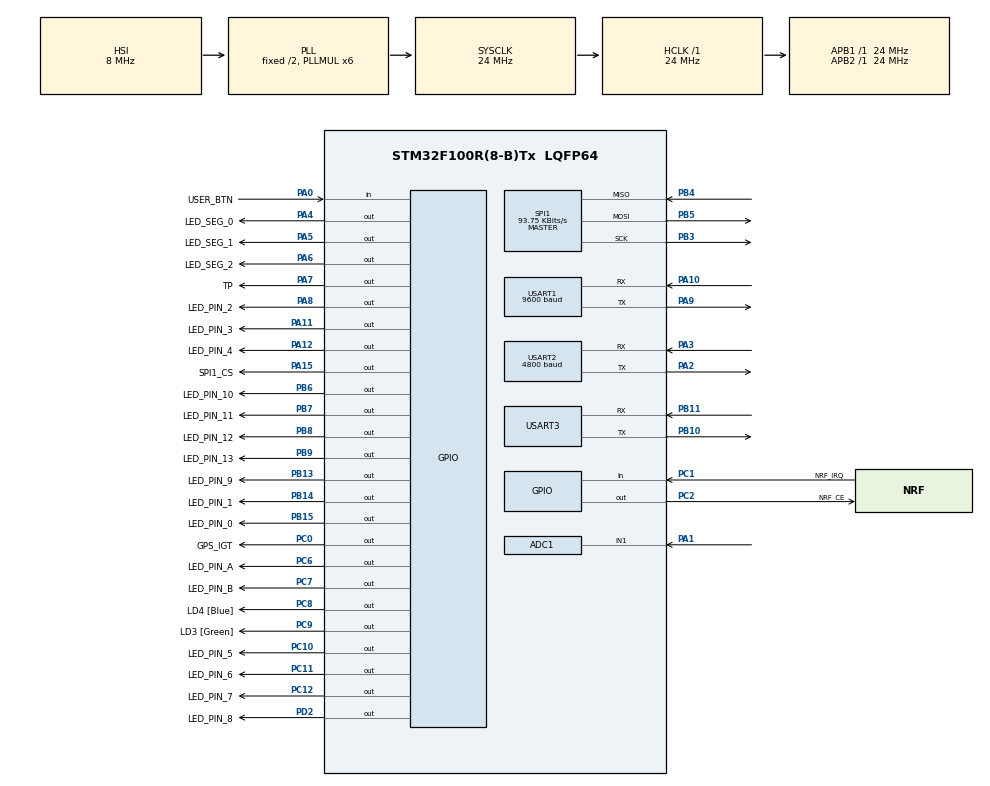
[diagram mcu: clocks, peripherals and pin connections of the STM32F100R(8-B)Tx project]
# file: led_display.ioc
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ADC1.Channel-0\#ChannelRegularConversion=ADC_CHANNEL_VREFINT
ADC1.Channel-1\#ChannelRegularConversion=ADC_CHANNEL_TEMPSENSOR
ADC1.Channel-2\#ChannelRegularConversion=ADC_CHANNEL_1
ADC1.DiscontinuousConvMode=ENABLE
ADC1.NbrOfConversion=3
ADC1.NbrOfConversionFlag=1
ADC1.Rank-0\#ChannelRegularConversion=1
ADC1.Rank-1\#ChannelRegularConversion=2
ADC1.Rank-2\#ChannelRegularConversion=3
ADC1.SamplingTime-0\#ChannelRegularConversion=ADC_SAMPLETIME_239CYCLES_5
ADC1.SamplingTime-1\#ChannelRegularConversion=ADC_SAMPLETIME_239CYCLES_5
ADC1.SamplingTime-2\#ChannelRegularConversion=ADC_SAMPLETIME_239CYCLES_5
ADC1.master=1
IWDG.Prescaler=IWDG_PRESCALER_256
Mcu.Family=STM32F1
Mcu.Name=STM32F100R(8-B)Tx
Mcu.Package=LQFP64
NVIC.PriorityGroup=NVIC_PRIORITYGROUP_4
NVIC.TIM2_IRQn=true\:0\:0\:false\:false\:true\:true\:true
NVIC.USART1_IRQn=true\:0\:0\:false\:false\:true\:true\:true
NVIC.USART2_IRQn=true\:0\:0\:false\:false\:true\:true\:true
PA0-WKUP.GPIO_Label=USER_BTN
PA0-WKUP.GPIO_PuPd=GPIO_PULLDOWN
PA0-WKUP.Signal=GPIO_Input
PA1.Signal=ADCx_IN1
PA10.GPIO_PuPd=GPIO_PULLDOWN
PA10.Mode=Asynchronous
PA10.Signal=USART1_RX
PA11.GPIO_Label=LED_PIN_3
PA11.GPIO_ModeDefaultOutputPP=GPIO_MODE_OUTPUT_OD
PA11.Signal=GPIO_Output
PA12.GPIO_Label=LED_PIN_4
PA12.GPIO_ModeDefaultOutputPP=GPIO_MODE_OUTPUT_OD
PA12.Signal=GPIO_Output
PA13.Mode=Serial_Wire
PA13.Signal=SYS_JTMS-SWDIO
PA14.Mode=Serial_Wire
PA14.Signal=SYS_JTCK-SWCLK
PA15.GPIO_Label=SPI1_CS
PA15.PinState=GPIO_PIN_SET
PA15.Signal=GPIO_Output
PA2.Mode=Asynchronous
PA2.Signal=USART2_TX
PA3.Mode=Asynchronous
PA3.Signal=USART2_RX
PA4.GPIO_Label=LED_SEG_0
PA4.Signal=GPIO_Output
PA5.GPIO_Label=LED_SEG_1
PA5.Signal=GPIO_Output
PA6.GPIO_Label=LED_SEG_2
PA6.Signal=GPIO_Output
PA7.GPIO_Label=TP
PA7.Signal=GPIO_Output
PA8.GPIO_Label=LED_PIN_2
PA8.GPIO_ModeDefaultOutputPP=GPIO_MODE_OUTPUT_OD
PA8.Signal=GPIO_Output
PA9.Mode=Asynchronous
PA9.Signal=USART1_TX
PB10.Mode=Asynchronous
PB10.Signal=USART3_TX
PB11.Mode=Asynchronous
PB11.Signal=USART3_RX
PB13.GPIO_Label=LED_PIN_9
PB13.GPIO_ModeDefaultOutputPP=GPIO_MODE_OUTPUT_OD
PB13.Signal=GPIO_Output
PB14.GPIO_Label=LED_PIN_1
PB14.GPIO_ModeDefaultOutputPP=GPIO_MODE_OUTPUT_OD
PB14.Signal=GPIO_Output
PB15.GPIO_Label=LED_PIN_0
PB15.GPIO_ModeDefaultOutputPP=GPIO_MODE_OUTPUT_OD
PB15.Signal=GPIO_Output
PB3.Mode=Full_Duplex_Master
PB3.Signal=SPI1_SCK
PB4.Mode=Full_Duplex_Master
PB4.Signal=SPI1_MISO
PB5.Mode=Full_Duplex_Master
PB5.Signal=SPI1_MOSI
PB6.GPIO_Label=LED_PIN_10
PB6.GPIO_ModeDefaultOutputPP=GPIO_MODE_OUTPUT_OD
PB6.Signal=GPIO_Output
PB7.GPIO_Label=LED_PIN_11
PB7.GPIO_ModeDefaultOutputPP=GPIO_MODE_OUTPUT_OD
PB7.Signal=GPIO_Output
PB8.GPIO_Label=LED_PIN_12
PB8.GPIO_ModeDefaultOutputPP=GPIO_MODE_OUTPUT_OD
PB8.Signal=GPIO_Output
PB9.GPIO_Label=LED_PIN_13
PB9.GPIO_ModeDefaultOutputPP=GPIO_MODE_OUTPUT_OD
PB9.Signal=GPIO_Output
PC0.GPIO_Label=GPS_IGT
PC0.GPIO_PuPd=GPIO_PULLUP
PC0.Signal=GPIO_Output
PC1.GPIO_Label=NRF_IRQ
PC1.GPIO_PuPd=GPIO_PULLUP
PC1.Signal=GPIO_Input
PC10.GPIO_Label=LED_PIN_5
PC10.GPIO_ModeDefaultOutputPP=GPIO_MODE_OUTPUT_OD
PC10.Signal=GPIO_Output
PC11.GPIO_Label=LED_PIN_6
PC11.GPIO_ModeDefaultOutputPP=GPIO_MODE_OUTPUT_OD
PC11.Signal=GPIO_Output
PC12.GPIO_Label=LED_PIN_7
PC12.GPIO_ModeDefaultOutputPP=GPIO_MODE_OUTPUT_OD
PC12.Signal=GPIO_Output
PC14-OSC32_IN.Mode=LSE-External-Oscillator
PC14-OSC32_IN.Signal=RCC_OSC32_IN
PC15-OSC32_OUT.Mode=LSE-External-Oscillator
PC15-OSC32_OUT.Signal=RCC_OSC32_OUT
PC2.GPIO_Label=NRF_CE
PC2.Signal=GPIO_Output
PC6.GPIO_Label=LED_PIN_A
PC6.Signal=GPIO_Output
PC7.GPIO_Label=LED_PIN_B
PC7.Signal=GPIO_Output
PC8.GPIO_Label=LD4 [Blue]
PC8.Signal=GPIO_Output
PC9.GPIO_Label=LD3 [Green]
PC9.Signal=GPIO_Output
PD0-OSC_IN.Mode=HSE-External-Oscillator
PD0-OSC_IN.Signal=RCC_OSC_IN
PD1-OSC_OUT.Mode=HSE-External-Oscillator
PD1-OSC_OUT.Signal=RCC_OSC_OUT
PD2.GPIO_Label=LED_PIN_8
PD2.GPIO_ModeDefaultOutputPP=GPIO_MODE_OUTPUT_OD
PD2.Signal=GPIO_Output
ProjectManager.HeapSize=0x200
ProjectManager.StackSize=0x400
ProjectManager.TargetToolchain=STM32CubeIDE
RCC.AHBFreq_Value=24000000
RCC.APB1Freq_Value=24000000
RCC.APB1TimFreq_Value=24000000
RCC.APB2Freq_Value=24000000
RCC.APB2TimFreq_Value=24000000
RCC.HCLKFreq_Value=24000000
RCC.PLLMUL=RCC_PLL_MUL6
RCC.RTCClockSelection=RCC_RTCCLKSOURCE_LSE
RCC.SYSCLKFreq_VALUE=24000000
RCC.SYSCLKSource=RCC_SYSCLKSOURCE_PLLCLK
RTC.Format=RTC_FORMAT_BIN
SH.ADCx_IN1.0=ADC1_IN1,IN1
SPI1.BaudRatePrescaler=SPI_BAUDRATEPRESCALER_256
SPI1.CalculateBaudRate=93.75 KBits/s
SPI1.Direction=SPI_DIRECTION_2LINES
SPI1.Mode=SPI_MODE_MASTER
SPI1.VirtualType=VM_MASTER
TIM2.Period=0x8000
TIM2.Prescaler=2
USART1.BaudRate=9600
USART1.VirtualMode=VM_ASYNC
USART2.BaudRate=4800
USART2.VirtualMode=VM_ASYNC
USART3.VirtualMode=VM_ASYNC
VP_ADC1_TempSens_Input.Mode=IN-TempSens
VP_ADC1_Vref_Input.Mode=IN-Vrefint
VP_IWDG_VS_IWDG.Mode=IWDG_Activate
VP_RTC_VS_RTC_Activate.Mode=RTC_Enabled
VP_TIM2_VS_ClockSourceINT.Mode=Internal
board=STM32VLDISCOVERY

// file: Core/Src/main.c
/* USER CODE BEGIN Header */
/**
  ******************************************************************************
  * @file           : main.c
  * @brief          : Main program body
  ******************************************************************************
  * @attention
  *
  * <h2><center>&copy; Copyright (c) 2019 STMicroelectronics.
  * All rights reserved.</center></h2>
  *
  * This software component is licensed by ST under BSD 3-Clause license,
  * the "License"; You may not use this file except in compliance with the
  * License. You may obtain a copy of the License at:
  *                        opensource.org/licenses/BSD-3-Clause
  *
  ******************************************************************************
  */
/* USER CODE END Header */

#include "main.h"

/* USER CODE BEGIN Includes */
#include <stdio.h>
#include <string.h>
#include <stdlib.h>

#include <Utils/terminal.h>
#include "gps.h"
#include "led_display.h"
#include "run_cpp.h"
/* USER CODE END Includes */

ADC_HandleTypeDef hadc1;

IWDG_HandleTypeDef hiwdg;

RTC_HandleTypeDef hrtc;

SPI_HandleTypeDef hspi1;

TIM_HandleTypeDef htim2;

UART_HandleTypeDef huart1;
UART_HandleTypeDef huart2;
UART_HandleTypeDef huart3;

void SystemClock_Config(void);
static void MX_GPIO_Init(void);
static void MX_USART1_UART_Init(void);
static void MX_USART2_UART_Init(void);
static void MX_USART3_UART_Init(void);
static void MX_RTC_Init(void);
static void MX_SPI1_Init(void);
static void MX_TIM2_Init(void);
static void MX_ADC1_Init(void);
static void MX_IWDG_Init(void);

/* USER CODE BEGIN 0 */
void sample_adc(double *temperature, double *voltages)
{
	uint32_t adc_raw[3] = {0};

	HAL_ADCEx_Calibration_Start(&hadc1);

	for (int k = 0; k < 3; ++k)
	{
	HAL_ADC_Start(&hadc1);
	if(HAL_ADC_PollForConversion(&hadc1, 1000) == HAL_OK)
	{
		adc_raw[k] = HAL_ADC_GetValue(&hadc1);
		//printf("ADC[%d]: %lu\n", k, adc_raw[k]);
	}
	else
		break;
	}
	HAL_ADC_Stop(&hadc1);

	//this amount of steps measure 1.2V
	double step = 1.2 / adc_raw[0];
	//printf("ADC Step %0.3f\n", step);
	//printf("Vref: %0.3f\n", step * 4095.0);

	double voltage = ((double)adc_raw[1]) * step;
	//printf(" *	%d\n", (int)voltage);
	voltage = 1.43 - voltage;
	//printf(" -	%d\n", voltage);
	voltage /= 0.0043;
	//printf(" /	%d\n", voltage);
	*temperature = (25.0 + voltage) - 11;

	//measure raw voltage
	voltages[0] = (((double)adc_raw[2] * step));
}

/* USER CODE END 0 */

int main(void)
{

  /* MCU Configuration--------------------------------------------------------*/

  /* Reset of all peripherals, Initializes the Flash interface and the Systick. */
  HAL_Init();

  /* Configure the system clock */
  SystemClock_Config();

  /* Initialize all configured peripherals */
  MX_GPIO_Init();
  MX_USART1_UART_Init();
  MX_USART2_UART_Init();
  MX_USART3_UART_Init();
  MX_RTC_Init();
  MX_SPI1_Init();
  MX_TIM2_Init();
  MX_ADC1_Init();
  MX_IWDG_Init();
  /* USER CODE BEGIN 2 */
  cpp_init(&hspi1);

  setbuf(stdout, 0);
  printf("LED clock with GPS\n");
  printf("SYSCLOCK: %lu Hz\n", HAL_RCC_GetSysClockFreq());
  printf("HCLOCK  : %lu Hz\n", HAL_RCC_GetHCLKFreq());
  printf("P1CLOCK : %lu Hz\n", HAL_RCC_GetPCLK1Freq());
  printf("P2CLOCK : %lu Hz\n", HAL_RCC_GetPCLK2Freq());
  terminal_init("led $");

  //LED Lamp test
  {
  uint8_t number = 0;
  for(int k = 0 ; k  < 10; k++)
  {
	  HAL_Delay(300);
	  led_set_time(number, number);
	  led_set_temperature((float)k * 11.1);
	  number += 11;
  }
  HAL_Delay(300);
  }

  /* USER CODE END 2 */

  /* Infinite loop */
  /* USER CODE BEGIN WHILE */
  uint32_t tick = 0;
  float previous_temperature = 0;
  while (1)
  {
	  HAL_Delay(50);
	  terminal_run();
	  gps_run();
    /* USER CODE END WHILE */

    /* USER CODE BEGIN 3 */
	  //Refresh display every 15s
	  if(tick < HAL_GetTick())
	  {
		  RTC_TimeTypeDef rtc_time = {0};
		  HAL_RTC_GetTime(&hrtc, &rtc_time, RTC_FORMAT_BIN);

		  int hours = 0, minutes = 0, seconds = 0;
		  tick = HAL_GetTick() + 15000;
		  if(gps_get_time(&hours, &minutes, &seconds))
		  {
			  hours += 2;
			  if(hours > 23)
				  hours -= 24;

			  //Update RTC time if out of sync
			  if((rtc_time.Hours != hours) || (rtc_time.Minutes != minutes))
			  {
				  printf("Updating RTC time\n");
				  rtc_time.Hours = hours;
				  rtc_time.Minutes = minutes;
				  rtc_time.Seconds = seconds;
				  HAL_RTC_SetTime(&hrtc, &rtc_time, RTC_FORMAT_BIN);
			  }
		  }
		  else
		  {
			  hours = rtc_time.Hours;
			  minutes = rtc_time.Minutes;
		  }
		  led_set_time(hours, minutes);

		  double temperature, voltage;
		  sample_adc(&temperature, &voltage);
		  temperature = voltage * 100;
		  led_set_temperature(temperature);
		  cpp_update_temperature(temperature);

		  //if temperature has changed with a degree report it
		  if(((previous_temperature - 0.5) > temperature) || (temperature > (previous_temperature + 0.5)))
		  {
			  printf("T delta changed, report it\n");
			  previous_temperature = temperature;
			  cpp_report_temperature();
		  }
	  }

	  cpp_run();
	  HAL_IWDG_Refresh(&hiwdg);

	  //when the user button is pressed, show satellites in view
	  if(HAL_GPIO_ReadPin(USER_BTN_GPIO_Port, USER_BTN_Pin))
	  {
		  int fix, sv;
		  gps_get_satellites(&fix, &sv);
		  led_set_time(fix, sv);
	  }
  }
  /* USER CODE END 3 */
}

void SystemClock_Config(void)
{
  RCC_OscInitTypeDef RCC_OscInitStruct = {0};
  RCC_ClkInitTypeDef RCC_ClkInitStruct = {0};
  RCC_PeriphCLKInitTypeDef PeriphClkInit = {0};

  /** Initializes the CPU, AHB and APB busses clocks
  */
  RCC_OscInitStruct.OscillatorType = RCC_OSCILLATORTYPE_HSI|RCC_OSCILLATORTYPE_LSI
                              |RCC_OSCILLATORTYPE_LSE;
  RCC_OscInitStruct.LSEState = RCC_LSE_ON;
  RCC_OscInitStruct.HSIState = RCC_HSI_ON;
  RCC_OscInitStruct.HSICalibrationValue = RCC_HSICALIBRATION_DEFAULT;
  RCC_OscInitStruct.LSIState = RCC_LSI_ON;
  RCC_OscInitStruct.PLL.PLLState = RCC_PLL_ON;
  RCC_OscInitStruct.PLL.PLLSource = RCC_PLLSOURCE_HSI_DIV2;
  RCC_OscInitStruct.PLL.PLLMUL = RCC_PLL_MUL6;
  if (HAL_RCC_OscConfig(&RCC_OscInitStruct) != HAL_OK)
  {
    Error_Handler();
  }
  /** Initializes the CPU, AHB and APB busses clocks
  */
  RCC_ClkInitStruct.ClockType = RCC_CLOCKTYPE_HCLK|RCC_CLOCKTYPE_SYSCLK
                              |RCC_CLOCKTYPE_PCLK1|RCC_CLOCKTYPE_PCLK2;
  RCC_ClkInitStruct.SYSCLKSource = RCC_SYSCLKSOURCE_PLLCLK;
  RCC_ClkInitStruct.AHBCLKDivider = RCC_SYSCLK_DIV1;
  RCC_ClkInitStruct.APB1CLKDivider = RCC_HCLK_DIV1;
  RCC_ClkInitStruct.APB2CLKDivider = RCC_HCLK_DIV1;

  if (HAL_RCC_ClockConfig(&RCC_ClkInitStruct, FLASH_LATENCY_0) != HAL_OK)
  {
    Error_Handler();
  }
  PeriphClkInit.PeriphClockSelection = RCC_PERIPHCLK_RTC|RCC_PERIPHCLK_ADC;
  PeriphClkInit.RTCClockSelection = RCC_RTCCLKSOURCE_LSE;
  PeriphClkInit.AdcClockSelection = RCC_ADCPCLK2_DIV2;
  if (HAL_RCCEx_PeriphCLKConfig(&PeriphClkInit) != HAL_OK)
  {
    Error_Handler();
  }
}

static void MX_ADC1_Init(void)
{

  ADC_ChannelConfTypeDef sConfig = {0};

  /** Common config
  */
  hadc1.Instance = ADC1;
  hadc1.Init.ScanConvMode = ADC_SCAN_ENABLE;
  hadc1.Init.ContinuousConvMode = DISABLE;
  hadc1.Init.DiscontinuousConvMode = ENABLE;
  hadc1.Init.NbrOfDiscConversion = 1;
  hadc1.Init.ExternalTrigConv = ADC_SOFTWARE_START;
  hadc1.Init.DataAlign = ADC_DATAALIGN_RIGHT;
  hadc1.Init.NbrOfConversion = 3;
  if (HAL_ADC_Init(&hadc1) != HAL_OK)
  {
    Error_Handler();
  }
  /** Configure Regular Channel
  */
  sConfig.Channel = ADC_CHANNEL_VREFINT;
  sConfig.Rank = ADC_REGULAR_RANK_1;
  sConfig.SamplingTime = ADC_SAMPLETIME_239CYCLES_5;
  if (HAL_ADC_ConfigChannel(&hadc1, &sConfig) != HAL_OK)
  {
    Error_Handler();
  }
  /** Configure Regular Channel
  */
  sConfig.Channel = ADC_CHANNEL_TEMPSENSOR;
  sConfig.Rank = ADC_REGULAR_RANK_2;
  if (HAL_ADC_ConfigChannel(&hadc1, &sConfig) != HAL_OK)
  {
    Error_Handler();
  }
  /** Configure Regular Channel
  */
  sConfig.Channel = ADC_CHANNEL_1;
  sConfig.Rank = ADC_REGULAR_RANK_3;
  if (HAL_ADC_ConfigChannel(&hadc1, &sConfig) != HAL_OK)
  {
    Error_Handler();
  }

}

static void MX_IWDG_Init(void)
{

  hiwdg.Instance = IWDG;
  hiwdg.Init.Prescaler = IWDG_PRESCALER_256;
  hiwdg.Init.Reload = 4095;
  if (HAL_IWDG_Init(&hiwdg) != HAL_OK)
  {
    Error_Handler();
  }

}

static void MX_RTC_Init(void)
{

  /** Initialize RTC Only
  */
  hrtc.Instance = RTC;
  hrtc.Init.AsynchPrediv = RTC_AUTO_1_SECOND;
  hrtc.Init.OutPut = RTC_OUTPUTSOURCE_ALARM;
  if (HAL_RTC_Init(&hrtc) != HAL_OK)
  {
    Error_Handler();
  }

}

static void MX_SPI1_Init(void)
{

  /* SPI1 parameter configuration*/
  hspi1.Instance = SPI1;
  hspi1.Init.Mode = SPI_MODE_MASTER;
  hspi1.Init.Direction = SPI_DIRECTION_2LINES;
  hspi1.Init.DataSize = SPI_DATASIZE_8BIT;
  hspi1.Init.CLKPolarity = SPI_POLARITY_LOW;
  hspi1.Init.CLKPhase = SPI_PHASE_1EDGE;
  hspi1.Init.NSS = SPI_NSS_SOFT;
  hspi1.Init.BaudRatePrescaler = SPI_BAUDRATEPRESCALER_256;
  hspi1.Init.FirstBit = SPI_FIRSTBIT_MSB;
  hspi1.Init.TIMode = SPI_TIMODE_DISABLE;
  hspi1.Init.CRCCalculation = SPI_CRCCALCULATION_DISABLE;
  hspi1.Init.CRCPolynomial = 10;
  if (HAL_SPI_Init(&hspi1) != HAL_OK)
  {
    Error_Handler();
  }

}

static void MX_TIM2_Init(void)
{

  TIM_ClockConfigTypeDef sClockSourceConfig = {0};
  TIM_MasterConfigTypeDef sMasterConfig = {0};

  htim2.Instance = TIM2;
  htim2.Init.Prescaler = 2;
  htim2.Init.CounterMode = TIM_COUNTERMODE_UP;
  htim2.Init.Period = 0x8000;
  htim2.Init.ClockDivision = TIM_CLOCKDIVISION_DIV1;
  htim2.Init.AutoReloadPreload = TIM_AUTORELOAD_PRELOAD_DISABLE;
  if (HAL_TIM_Base_Init(&htim2) != HAL_OK)
  {
    Error_Handler();
  }
  sClockSourceConfig.ClockSource = TIM_CLOCKSOURCE_INTERNAL;
  if (HAL_TIM_ConfigClockSource(&htim2, &sClockSourceConfig) != HAL_OK)
  {
    Error_Handler();
  }
  sMasterConfig.MasterOutputTrigger = TIM_TRGO_RESET;
  sMasterConfig.MasterSlaveMode = TIM_MASTERSLAVEMODE_DISABLE;
  if (HAL_TIMEx_MasterConfigSynchronization(&htim2, &sMasterConfig) != HAL_OK)
  {
    Error_Handler();
  }
  /* USER CODE BEGIN TIM2_Init 2 */
  HAL_TIM_Base_Start_IT(&htim2);
  /* USER CODE END TIM2_Init 2 */

}

static void MX_USART1_UART_Init(void)
{

  huart1.Instance = USART1;
  huart1.Init.BaudRate = 9600;
  huart1.Init.WordLength = UART_WORDLENGTH_8B;
  huart1.Init.StopBits = UART_STOPBITS_1;
  huart1.Init.Parity = UART_PARITY_NONE;
  huart1.Init.Mode = UART_MODE_TX_RX;
  huart1.Init.HwFlowCtl = UART_HWCONTROL_NONE;
  huart1.Init.OverSampling = UART_OVERSAMPLING_16;
  if (HAL_UART_Init(&huart1) != HAL_OK)
  {
    Error_Handler();
  }
  /* USER CODE BEGIN USART1_Init 2 */
  __HAL_UART_ENABLE_IT(&huart1, UART_IT_RXNE);
  /* USER CODE END USART1_Init 2 */

}

static void MX_USART2_UART_Init(void)
{

  huart2.Instance = USART2;
  huart2.Init.BaudRate = 4800;
  huart2.Init.WordLength = UART_WORDLENGTH_8B;
  huart2.Init.StopBits = UART_STOPBITS_1;
  huart2.Init.Parity = UART_PARITY_NONE;
  huart2.Init.Mode = UART_MODE_TX_RX;
  huart2.Init.HwFlowCtl = UART_HWCONTROL_NONE;
  huart2.Init.OverSampling = UART_OVERSAMPLING_16;
  if (HAL_UART_Init(&huart2) != HAL_OK)
  {
    Error_Handler();
  }
  /* USER CODE BEGIN USART2_Init 2 */
  __HAL_UART_ENABLE_IT(&huart2, UART_IT_RXNE);
  /* USER CODE END USART2_Init 2 */

}

static void MX_USART3_UART_Init(void)
{

  huart3.Instance = USART3;
  huart3.Init.BaudRate = 115200;
  huart3.Init.WordLength = UART_WORDLENGTH_8B;
  huart3.Init.StopBits = UART_STOPBITS_1;
  huart3.Init.Parity = UART_PARITY_NONE;
  huart3.Init.Mode = UART_MODE_TX_RX;
  huart3.Init.HwFlowCtl = UART_HWCONTROL_NONE;
  huart3.Init.OverSampling = UART_OVERSAMPLING_16;
  if (HAL_UART_Init(&huart3) != HAL_OK)
  {
    Error_Handler();
  }

}

static void MX_GPIO_Init(void)
{
  GPIO_InitTypeDef GPIO_InitStruct = {0};

  /* GPIO Ports Clock Enable */
  __HAL_RCC_GPIOC_CLK_ENABLE();
  __HAL_RCC_GPIOD_CLK_ENABLE();
  __HAL_RCC_GPIOA_CLK_ENABLE();
  __HAL_RCC_GPIOB_CLK_ENABLE();

  /*Configure GPIO pin Output Level */
  HAL_GPIO_WritePin(GPIOC, GPS_IGT_Pin|NRF_CE_Pin|LED_PIN_A_Pin|LED_PIN_B_Pin
                          |LD4_Pin|LD3_Pin|LED_PIN_5_Pin|LED_PIN_6_Pin
                          |LED_PIN_7_Pin, GPIO_PIN_RESET);

  /*Configure GPIO pin Output Level */
  HAL_GPIO_WritePin(GPIOA, LED_SEG_0_Pin|LED_SEG_1_Pin|LED_SEG_2_Pin|TP_Pin
                          |LED_PIN_2_Pin|LED_PIN_3_Pin|LED_PIN_4_Pin, GPIO_PIN_RESET);

  /*Configure GPIO pin Output Level */
  HAL_GPIO_WritePin(GPIOB, LED_PIN_9_Pin|LED_PIN_1_Pin|LED_PIN_0_Pin|LED_PIN_10_Pin
                          |LED_PIN_11_Pin|LED_PIN_12_Pin|LED_PIN_13_Pin, GPIO_PIN_RESET);

  /*Configure GPIO pin Output Level */
  HAL_GPIO_WritePin(SPI1_CS_GPIO_Port, SPI1_CS_Pin, GPIO_PIN_SET);

  /*Configure GPIO pin Output Level */
  HAL_GPIO_WritePin(LED_PIN_8_GPIO_Port, LED_PIN_8_Pin, GPIO_PIN_RESET);

  /*Configure GPIO pin : GPS_IGT_Pin */
  GPIO_InitStruct.Pin = GPS_IGT_Pin;
  GPIO_InitStruct.Mode = GPIO_MODE_OUTPUT_PP;
  GPIO_InitStruct.Pull = GPIO_PULLUP;
  GPIO_InitStruct.Speed = GPIO_SPEED_FREQ_LOW;
  HAL_GPIO_Init(GPS_IGT_GPIO_Port, &GPIO_InitStruct);

  /*Configure GPIO pin : NRF_IRQ_Pin */
  GPIO_InitStruct.Pin = NRF_IRQ_Pin;
  GPIO_InitStruct.Mode = GPIO_MODE_INPUT;
  GPIO_InitStruct.Pull = GPIO_PULLUP;
  HAL_GPIO_Init(NRF_IRQ_GPIO_Port, &GPIO_InitStruct);

  /*Configure GPIO pins : NRF_CE_Pin LED_PIN_A_Pin LED_PIN_B_Pin LD4_Pin
                           LD3_Pin */
  GPIO_InitStruct.Pin = NRF_CE_Pin|LED_PIN_A_Pin|LED_PIN_B_Pin|LD4_Pin
                          |LD3_Pin;
  GPIO_InitStruct.Mode = GPIO_MODE_OUTPUT_PP;
  GPIO_InitStruct.Pull = GPIO_NOPULL;
  GPIO_InitStruct.Speed = GPIO_SPEED_FREQ_LOW;
  HAL_GPIO_Init(GPIOC, &GPIO_InitStruct);

  /*Configure GPIO pin : USER_BTN_Pin */
  GPIO_InitStruct.Pin = USER_BTN_Pin;
  GPIO_InitStruct.Mode = GPIO_MODE_INPUT;
  GPIO_InitStruct.Pull = GPIO_PULLDOWN;
  HAL_GPIO_Init(USER_BTN_GPIO_Port, &GPIO_InitStruct);

  /*Configure GPIO pins : LED_SEG_0_Pin LED_SEG_1_Pin LED_SEG_2_Pin TP_Pin
                           SPI1_CS_Pin */
  GPIO_InitStruct.Pin = LED_SEG_0_Pin|LED_SEG_1_Pin|LED_SEG_2_Pin|TP_Pin
                          |SPI1_CS_Pin;
  GPIO_InitStruct.Mode = GPIO_MODE_OUTPUT_PP;
  GPIO_InitStruct.Pull = GPIO_NOPULL;
  GPIO_InitStruct.Speed = GPIO_SPEED_FREQ_LOW;
  HAL_GPIO_Init(GPIOA, &GPIO_InitStruct);

  /*Configure GPIO pins : LED_PIN_9_Pin LED_PIN_1_Pin LED_PIN_0_Pin LED_PIN_10_Pin
                           LED_PIN_11_Pin LED_PIN_12_Pin LED_PIN_13_Pin */
  GPIO_InitStruct.Pin = LED_PIN_9_Pin|LED_PIN_1_Pin|LED_PIN_0_Pin|LED_PIN_10_Pin
                          |LED_PIN_11_Pin|LED_PIN_12_Pin|LED_PIN_13_Pin;
  GPIO_InitStruct.Mode = GPIO_MODE_OUTPUT_OD;
  GPIO_InitStruct.Pull = GPIO_NOPULL;
  GPIO_InitStruct.Speed = GPIO_SPEED_FREQ_LOW;
  HAL_GPIO_Init(GPIOB, &GPIO_InitStruct);

  /*Configure GPIO pins : LED_PIN_2_Pin LED_PIN_3_Pin LED_PIN_4_Pin */
  GPIO_InitStruct.Pin = LED_PIN_2_Pin|LED_PIN_3_Pin|LED_PIN_4_Pin;
  GPIO_InitStruct.Mode = GPIO_MODE_OUTPUT_OD;
  GPIO_InitStruct.Pull = GPIO_NOPULL;
  GPIO_InitStruct.Speed = GPIO_SPEED_FREQ_LOW;
  HAL_GPIO_Init(GPIOA, &GPIO_InitStruct);

  /*Configure GPIO pins : LED_PIN_5_Pin LED_PIN_6_Pin LED_PIN_7_Pin */
  GPIO_InitStruct.Pin = LED_PIN_5_Pin|LED_PIN_6_Pin|LED_PIN_7_Pin;
  GPIO_InitStruct.Mode = GPIO_MODE_OUTPUT_OD;
  GPIO_InitStruct.Pull = GPIO_NOPULL;
  GPIO_InitStruct.Speed = GPIO_SPEED_FREQ_LOW;
  HAL_GPIO_Init(GPIOC, &GPIO_InitStruct);

  /*Configure GPIO pin : LED_PIN_8_Pin */
  GPIO_InitStruct.Pin = LED_PIN_8_Pin;
  GPIO_InitStruct.Mode = GPIO_MODE_OUTPUT_OD;
  GPIO_InitStruct.Pull = GPIO_NOPULL;
  GPIO_InitStruct.Speed = GPIO_SPEED_FREQ_LOW;
  HAL_GPIO_Init(LED_PIN_8_GPIO_Port, &GPIO_InitStruct);

}

/* USER CODE BEGIN 4 */
void debug_adc(uint8_t argc, char **argv)
{
	printf("ADC\n");

	double temperature, voltages;
	sample_adc(&temperature, &voltages);

	printf("CPU: %0.3f\n", temperature);
	printf("T  : %0.3f\n", voltages * 100);
}

void debug_led(uint8_t argc, char **argv)
{
	if(argc > 1)
	{
		double temperature = (double) atoi(argv[1]) / 10.0;
		printf("Set temp: %f\n", temperature);

		led_set_temperature(temperature);
	}
}

int __io_putchar(int ch)
{
	if(ch == '\r')
	{
		uint8_t byte = '\n';
		HAL_UART_Transmit(&huart1, &byte, 1, 100);
	}
	if(ch == '\n')
	{
		uint8_t byte = '\r';
		HAL_UART_Transmit(&huart1, &byte, 1, 100);
	}

	HAL_UART_Transmit(&huart1, (uint8_t*)&ch, 1, 100);

	return 0;
}

void HAL_TIM_PeriodElapsedCallback(TIM_HandleTypeDef *htim)
{
	led_animate();
}
/* USER CODE END 4 */

void Error_Handler(void)
{
}

/************************ (C) COPYRIGHT STMicroelectronics *****END OF FILE****/
